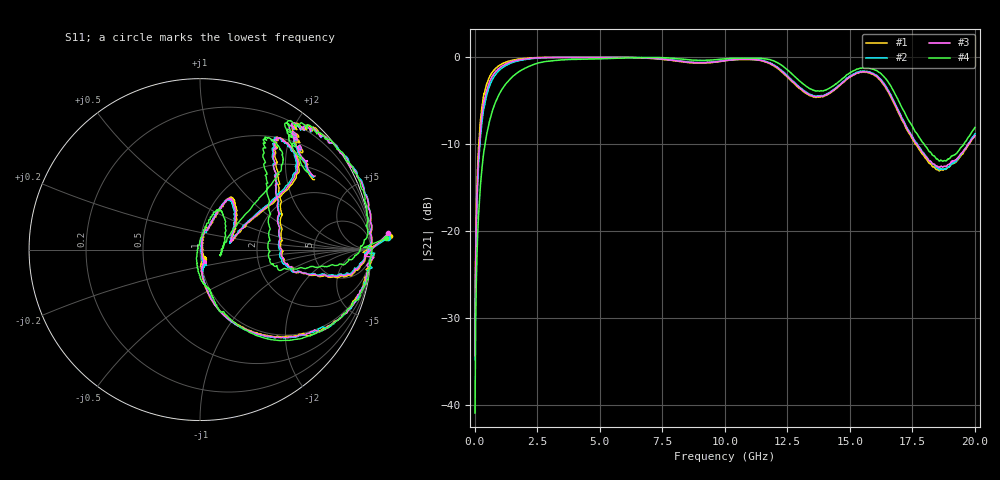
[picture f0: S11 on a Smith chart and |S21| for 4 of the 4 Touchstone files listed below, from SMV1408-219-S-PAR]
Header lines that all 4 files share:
! Skyworks SMV1408-219 De-embedded S-Parameter Data
! Created  11-5-2013
! 2 Port Network Data
! Mounted on Board # SK41159-3 Rev 1 in Series, Cathode is connected to RF1 as Input( Pin 1) and Anode is connected RF2 as Output(Pin 2)
! Temperature = +25 °C
! RF traces and connectors are de-embedded using TRL calibration and standards
! Reference planes are package pins
! Pin 1 Input port (S-Port1), Pin 2 Output port (S-port2)
! Dev # 1
#  HZ  S  DB  R  50.00
! Rohde & Schwarz ZVA24 4Ports - Version 2.90 - 1145.1110k26 SN: 100216
! Measurements: S11 S21 S12 S22
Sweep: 10 MHz to 20 GHz
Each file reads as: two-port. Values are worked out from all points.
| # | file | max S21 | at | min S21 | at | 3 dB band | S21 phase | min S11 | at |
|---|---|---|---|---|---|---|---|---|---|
| 1 | SMV1408-219-S-PAR-Vr-0.5V.s2p | -0.04 dB | 3.36 GHz | -33.1 dB | 10 MHz | 490 MHz-12.76 GHz | -19 deg at 10.01 GHz | -36.7 dB | 5.9 GHz |
| 2 | SMV1408-219-S-PAR-Vr-1.5V.s2p | -0.05 dB | 5.92 GHz | -34.7 dB | 10 MHz | 640 MHz-12.82 GHz | -18 deg at 10.01 GHz | -45.7 dB | 6.18 GHz |
| 3 | SMV1408-219-S-PAR-Vr-1V.s2p | -0.06 dB | 3.44 GHz | -34.3 dB | 10 MHz | 570 MHz-12.79 GHz | -19 deg at 10.01 GHz | -40.9 dB | 6.05 GHz |
| 4 | SMV1408-219-S-PAR-Vr-10V.s2p | -0.06 dB | 7.01 GHz | -40.9 dB | 10 MHz | 1.26 GHz-13.1 GHz | -14 deg at 10.01 GHz | -38.4 dB | 7.1 GHz |
